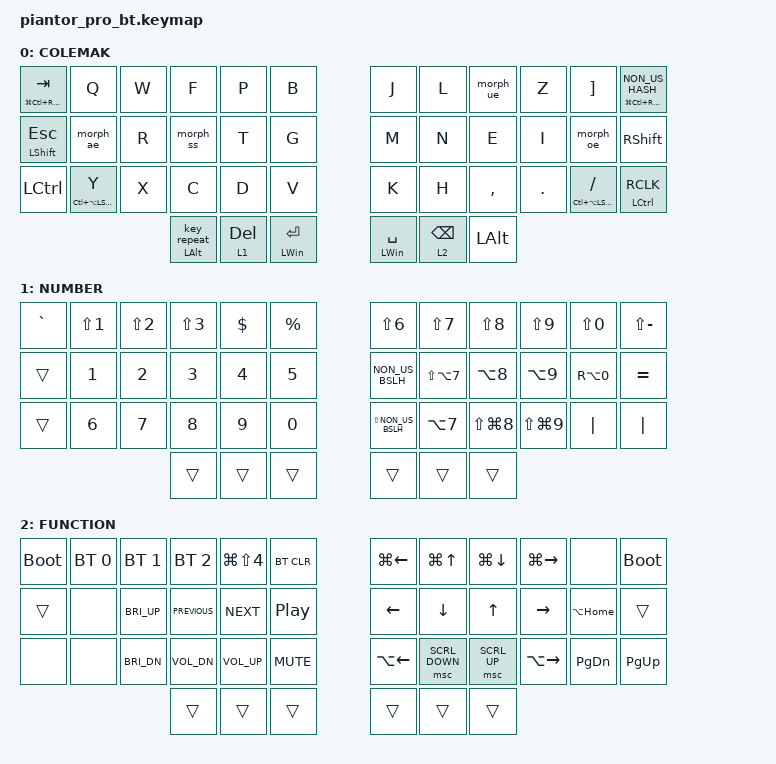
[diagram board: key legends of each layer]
/* Copyright (c) 2020 The ZMK Contributors 
*
* SPDX-License-Identifier: MIT
*/

#include <behaviors.dtsi>
#include <dt-bindings/zmk/keys.h>
#include <dt-bindings/zmk/bt.h>
#include <dt-bindings/zmk/rgb.h>
#define ZMK_POINTING_DEFAULT_SCRL_VAL 80
#include <dt-bindings/zmk/pointing.h>

// #include <dt-bindings/zmk/ext_power.h>
// https://joshinator.de/posts/zmk-combo-helper/

#define COMBO(NAME, BINDINGS, KEYPOS) \
combo_##NAME { \
timeout-ms = <750>; \
bindings = <BINDINGS>; \
key-positions = <KEYPOS>; \
layers = <0>; \
};

#define DEFAULT 0
#define LOWER 1
#define UPPER 2

// Beschleunigung für mouse scrolling einstellen
&msc {
  time-to-max-speed-ms = <150>;
  acceleration-exponent = <1>;
};

// &mt { tapping-term-ms = <125>; };
&mt { tapping-term-ms = <125>; };
&lt {
  flavor = "hold-preferred";
  tapping-term-ms = <200>;
  quick-tap-ms = <150>;
};

/ {

  combos {
    compatible = "zmk,combos";
    // BEISPIEL: Positionen anpassen!
// combo_cmd_del_to_ctrl_k {
  //   timeout-ms = <50>;                  // 30–60 ms ist üblich
  //   key-positions = <38 40>;  // <-- HIER deine Positionsnummern
  //   bindings = <&kp LC(K)>;             // Ausgabe: Ctrl+K
  //   // optional: nur auf bestimmten Layern aktivieren
  //   // layers = <0 1>; 
  // };
  // COMBO(lgui-enter, &kp LG(RET), 24 53 54) // shift enter + space
  // COMBO(shift-del-backspace, &kp BSPC, 24 52) // shift enter + space
  // COMBO(hyper-hash, &kp LG(LC(LA(LS(NON_US_HASH)))), 12 52 23) // shift enter + space
  // COMBO(hyper-rshift, &kp LG(LC(LA(LS(RIGHT_SHIFT)))), 12 52 35) // shift enter + space

  };

// macros {
//   repeat_macro: repeat_macro {
  //     compatible = "zmk,behavior-macro";
  //     label = "REPEAT_MACRO";
  //     #binding-cells = <0>;
  //     bindings = <&key_repeat>;
  //   };
  // };

  behaviors {
// backspace_gui_to_ctrlu: backspace_gui_to_ctrlu {
  //   compatible = "zmk,behavior-mod-morph";
  //   #binding-cells = <0>;
  //   // Tap normal: DEL; wenn GUI/Cmd gehalten: Ctrl+K
  //   bindings = <&kp BSPC>, <&kp LC(U)>;
  //   mods = <(MOD_LGUI|MOD_RGUI)>;
  // };
// del_gui_to_ctrlk: del_gui_to_ctrlk {
  //   compatible = "zmk,behavior-mod-morph";
  //   #binding-cells = <0>;
  //   // Tap normal: DEL; wenn GUI/Cmd gehalten: Ctrl+K
  //   bindings = <&kp DEL>, <&kp LC(K)>;
  //   mods = <(MOD_LGUI|MOD_RGUI)>;
  // };
  tp_rep: tp_rep {
    compatible = "zmk,behavior-hold-tap";
    label = "tp_rep";
    #binding-cells = <2>; // for repeat mit layer 2 schreiben
    tapping-term-ms = <150>;
    quick-tap-ms = <0>;
    flavor = "tap-preferred";
    bindings = <&kp>, <&key_repeat>;
  };
  ctrl_rclick: ctrl_rclick {
    compatible = "zmk,behavior-hold-tap";
    label = "CTRL_RCLICK";
    #binding-cells = <2>;
    tapping-term-ms = <200>;
    quick-tap-ms = <0>;
    flavor = "hold-preferred";
    bindings = <&kp>, <&mkp>;
  };
  morph_ae: morph_ae {
    compatible = "zmk,behavior-mod-morph";
    #binding-cells = <0>;
    bindings = <&kp A>, <&kp SQT>;

    // mods = <(MOD_LALT|MOD_RALT)>;
    mods = <(MOD_LALT)>;
  };

  morph_oe: morph_oe {
    compatible = "zmk,behavior-mod-morph";
    #binding-cells = <0>;
    bindings = <&kp O>, <&kp SEMICOLON>;

    mods = <(MOD_LALT)>;
  };

  morph_ue: morph_ue {
    compatible = "zmk,behavior-mod-morph";
    #binding-cells = <0>;
    bindings = <&kp U>, <&kp LEFT_BRACKET>;

    mods = <(MOD_LALT)>;
  };

  morph_ss: morph_ss {
    compatible = "zmk,behavior-mod-morph";
    #binding-cells = <0>;
    bindings = <&kp S>, <&kp MINUS>;

    mods = <(MOD_LALT)>;
  };


  tp: tap_preferred {
    compatible = "zmk,behavior-hold-tap";
    label = "TAP_PREFERRED";
    #binding-cells = <2>;
    tapping-term-ms = <125>;
    quick-tap-ms = <150>;
    flavor = "tap-preferred";
    bindings = <&kp>, <&kp>;
  }; 
  ts: tap_slow {
    compatible = "zmk,behavior-hold-tap";
    label = "TAP_SLOW";
    #binding-cells = <2>;
    tapping-term-ms = <250>;
    quick-tap-ms = <200>;
    flavor = "tap-preferred";
    bindings = <&kp>, <&kp>;
  }; 
  };




  keymap {
    compatible = "zmk,keymap";

    default_layer {
      display-name = "COLEMAK";
      // ------------------------------------------------------------------------------------------------------------
      // |  TAB  |  Q  |  W  |  F   |  R   |  B   |                   |  J   |  U    |  U    |  Y   |      |   #   |
      // | SHIFT |  A  |  R  |  S   |  T   |  G   |                   |  M   |  N    |  E    |  I   |   O   | SHIFT |
      // | CTRL  |  Z  |  X  |  C   |  D   |  V   |                   |  K   |  H    |  ,    |  .   |   -   |  |
      //                     | REP  | LOWER|  ENTER |                 | SPACE | RAISE| BSPC  |


      bindings = <
        &tp LG(LC(RA(LEFT_SHIFT))) TAB    &kp Q                     &kp W    &kp F             &kp P         &kp B                    &kp J        &kp L         &morph_ue  &kp Z    &kp RIGHT_BRACKET                 &tp LG(LC(RA(LEFT_SHIFT))) NON_US_HASH
        &mt LEFT_SHIFT ESCAPE             &morph_ae                 &kp R    &morph_ss         &kp T         &kp G                    &kp M        &kp N         &kp E      &kp I    &morph_oe                         &kp RIGHT_SHIFT
        &kp LEFT_CONTROL                  &ts LC(LA(LEFT_SHIFT)) Y  &kp X    &kp C             &kp D         &kp V                    &kp K        &kp H         &kp COMMA  &kp DOT  &ts LC(LA(LEFT_SHIFT)) SLASH      &ctrl_rclick LEFT_CONTROL RCLK
        &tp_rep LALT 0    &lt 1 DEL     &tp LWIN ENTER           &tp LWIN SPC &lt 2 BSPC    &kp LALT    
      >;
    };

    lower_layer {
      // ------------------------------------------------------------------------------------------------------------
      // | BTCLR | BT1 | BT2 |  BT3 |  BT4 |  BT5 |                   |      |       |       |      |       |       |
      // |  F1   |  F2 |  F3 |  F4  |  F5  |  F6  |                   |  F7  |  F8   |  F9   |  F10 |  F11  |  F12  |
      // |   `   |  !  |  @  |  #   |  $   |  %   |                   |  ^   |  &    |  *    |  (   |   )   |   ~   |
      // |       |     |     |      |      |      |        |  |       |      |  _    |  +    |  {   |   }   |  "|"  |
      //                     |      |      |      |        |  |       |      |       |       |

      // &kp NON_US_BSLH  &kp LS(NUMBER_1)  &kp LS(NUMBER_2)  &kp LS(NUMBER_3)  &kp DOLLAR        &kp PERCENT           &kp LS(N6)        &kp LS(N7)      &kp LS(N8)            &kp LS(N9)             &kp LS(N0)  &kp LS(MINUS) anscheiend sind bei zmk non_us_bslh und grave vertauscht

      display-name = "NUMBER";
      bindings = <
        &kp GRAVE  &kp LS(NUMBER_1)  &kp LS(NUMBER_2)  &kp LS(NUMBER_3)  &kp DOLLAR        &kp PERCENT           &kp LS(N6)        &kp LS(N7)      &kp LS(N8)            &kp LS(N9)             &kp LS(N0)  &kp LS(MINUS)
        &trans           &kp N1            &kp N2      &kp N3            &kp N4            &kp N5          &kp NON_US_BSLH     &kp LS(LA(N7))  &kp LA(N8)            &kp LA(N9)             &kp RA(N0)  &kp EQUAL
        &trans     &kp N6      &kp N7            &kp N8            &kp N9   &kp N0                &kp LS(NON_US_BSLH)  &kp LA(N7)      &kp LS(LG(N8))        &kp LS(LG(N9))         &kp PIPE       &kp PIPE 
        &trans            &trans            &trans                &trans            &trans          &trans

      >;
    };

    upper_layer {
      // ------------------------------------------------------------------------------------------------------------
      // |       |     |     |      |      |      |                   |      |       |       |      |       |       |
      // |   `   |  1  |  2  |  3   |  4   |  5   |                   |  6   |   7   |   8   |  9   |   0   |       |
      // |   F1  |  F2 |  F3 |  F4  |  F5  |  F6  |                   |      |   <-  |   v   |  ^   |  ->   |       |
      // |   F7  |  F8 |  F9 |  F10 |  F11 |  F12 |        |  |       |  +   |   -   |   =   |  [   |   ]   |   \   |
      //                     |      |      |      |        |  |       |      |       |       |

      display-name = "FUNCTION";
      bindings = <
        &bootloader   &bt BT_SEL 0  &bt BT_SEL 1  &bt BT_SEL 2     &kp LG(LS(N4))       &bt BT_CLR                     &kp LG(LEFT_ARROW)    &kp LG(UP_ARROW)    &kp LG(DOWN_ARROW)  &kp LG(RIGHT_ARROW)   &none         &bootloader
        &trans        &none         &kp C_BRI_UP  &kp C_PREVIOUS   &kp C_NEXT           &kp C_PLAY_PAUSE               &kp LEFT_ARROW        &kp DOWN_ARROW      &kp UP_ARROW      &kp RIGHT_ARROW       &kp LA(HOME)  &trans
        // &none         &none         &kp C_BRI_DN  &kp C_VOL_DN     &kp C_VOL_UP         &kp C_MUTE                     &kp LA(LEFT_ARROW)    &kp PAGE_DOWN       &kp PAGE_UP       &kp LA(RIGHT_ARROW)   &none         &none    
        &none         &none         &kp C_BRI_DN  &kp C_VOL_DN     &kp C_VOL_UP         &kp C_MUTE                     &kp LA(LEFT_ARROW)    &msc SCRL_DOWN       &msc SCRL_UP       &kp LA(RIGHT_ARROW)   &kp PAGE_DOWN         &kp PAGE_UP
        &trans           &trans            &trans                            &trans                &trans              &trans

      >;
    };
  };
};
